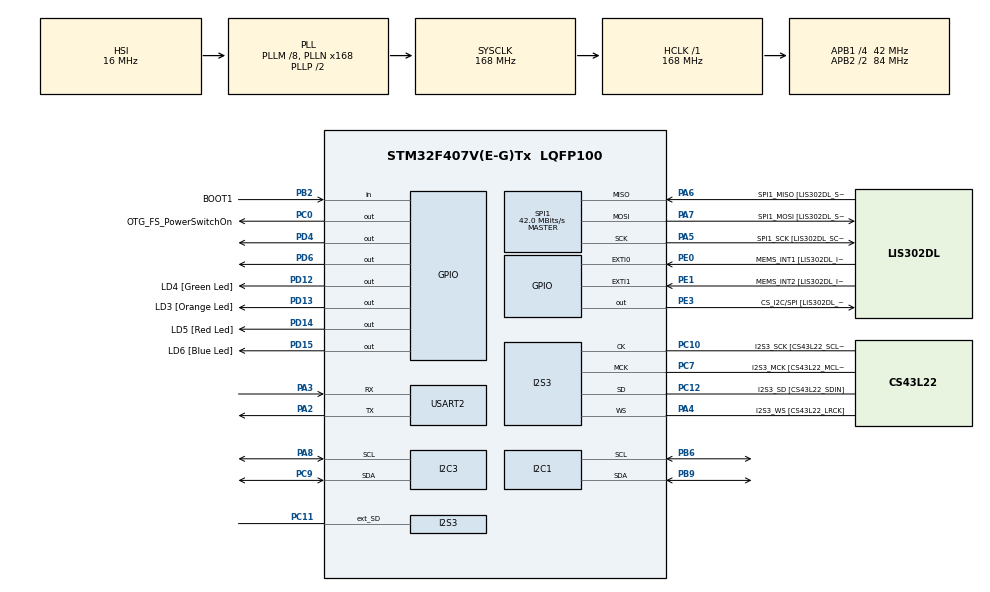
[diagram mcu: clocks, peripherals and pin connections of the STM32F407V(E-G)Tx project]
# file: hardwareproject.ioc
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Dma.Request0=SPI3_TX
Dma.SPI3_TX.0.Direction=DMA_MEMORY_TO_PERIPH
Dma.SPI3_TX.0.FIFOMode=DMA_FIFOMODE_ENABLE
Dma.SPI3_TX.0.FIFOThreshold=DMA_FIFO_THRESHOLD_FULL
Dma.SPI3_TX.0.Instance=DMA1_Stream5
Dma.SPI3_TX.0.MemBurst=DMA_MBURST_INC8
Dma.SPI3_TX.0.MemDataAlignment=DMA_MDATAALIGN_HALFWORD
Dma.SPI3_TX.0.MemInc=DMA_MINC_ENABLE
Dma.SPI3_TX.0.Mode=DMA_NORMAL
Dma.SPI3_TX.0.PeriphBurst=DMA_PBURST_SINGLE
Dma.SPI3_TX.0.PeriphDataAlignment=DMA_PDATAALIGN_HALFWORD
Dma.SPI3_TX.0.PeriphInc=DMA_PINC_DISABLE
Dma.SPI3_TX.0.Priority=DMA_PRIORITY_LOW
I2C1.OwnAddress=0x33
I2S3.AudioFreq=I2S_AUDIOFREQ_48K
I2S3.ErrorAudioFreq=-0.01 %
I2S3.FullDuplexMode=I2S_FULLDUPLEXMODE_ENABLE
I2S3.RealAudioFreq=47.991 KHz
Mcu.Family=STM32F4
Mcu.Name=STM32F407V(E-G)Tx
Mcu.Package=LQFP100
NVIC.DMA1_Stream5_IRQn=true\:0\:0\:false\:false\:true
NVIC.PriorityGroup=NVIC_PRIORITYGROUP_4
PA10.GPIO_Label=OTG_FS_ID
PA10.GPIO_Mode=GPIO_MODE_AF_PP
PA10.GPIO_PuPd=GPIO_NOPULL
PA10.GPIO_Speed=GPIO_SPEED_FREQ_LOW
PA10.Signal=USB_OTG_FS_ID
PA11.GPIO_Label=OTG_FS_DM
PA11.GPIO_Mode=GPIO_MODE_AF_PP
PA11.GPIO_PuPd=GPIO_NOPULL
PA11.GPIO_Speed=GPIO_SPEED_FREQ_LOW
PA11.Signal=USB_OTG_FS_DM
PA12.GPIO_Label=OTG_FS_DP
PA12.GPIO_Mode=GPIO_MODE_AF_PP
PA12.GPIO_PuPd=GPIO_NOPULL
PA12.GPIO_Speed=GPIO_SPEED_FREQ_LOW
PA12.Signal=USB_OTG_FS_DP
PA13.GPIO_Label=SWDIO
PA13.Signal=SYS_JTMS-SWDIO
PA14.GPIO_Label=SWCLK
PA14.Signal=SYS_JTCK-SWCLK
PA2.Mode=Asynchronous
PA2.Signal=USART2_TX
PA3.Mode=Asynchronous
PA3.Signal=USART2_RX
PA4.GPIO_Label=I2S3_WS [CS43L22_LRCK]
PA4.GPIO_Mode=GPIO_MODE_AF_PP
PA4.GPIO_PuPd=GPIO_NOPULL
PA4.GPIO_Speed=GPIO_SPEED_FREQ_LOW
PA4.Mode=Full_Duplex_Master
PA4.Signal=I2S3_WS
PA5.GPIO_Label=SPI1_SCK [LIS302DL_SCL/SPC]
PA5.GPIO_Mode=GPIO_MODE_AF_PP
PA5.GPIO_PuPd=GPIO_NOPULL
PA5.GPIO_Speed=GPIO_SPEED_FREQ_LOW
PA5.Mode=Full_Duplex_Master
PA5.Signal=SPI1_SCK
PA6.GPIO_Label=SPI1_MISO [LIS302DL_SDO]
PA6.GPIO_Mode=GPIO_MODE_AF_PP
PA6.GPIO_PuPd=GPIO_NOPULL
PA6.GPIO_Speed=GPIO_SPEED_FREQ_LOW
PA6.Mode=Full_Duplex_Master
PA6.Signal=SPI1_MISO
PA7.GPIO_Label=SPI1_MOSI [LIS302DL_SDA/SDI/SDO]
PA7.GPIO_Mode=GPIO_MODE_AF_PP
PA7.GPIO_PuPd=GPIO_NOPULL
PA7.GPIO_Speed=GPIO_SPEED_FREQ_LOW
PA7.Mode=Full_Duplex_Master
PA7.Signal=SPI1_MOSI
PA8.Mode=I2C
PA8.Signal=I2C3_SCL
PA9.GPIO_Label=VBUS_FS
PA9.GPIO_Mode=GPIO_MODE_INPUT
PA9.GPIO_PuPd=GPIO_NOPULL
PA9.Signal=USB_OTG_FS_VBUS
PB10.GPIO_Label=CLK_IN [MP45DT02_CLK]
PB10.GPIO_Mode=GPIO_MODE_AF_PP
PB10.GPIO_PuPd=GPIO_NOPULL
PB10.GPIO_Speed=GPIO_SPEED_FREQ_LOW
PB10.Signal=I2S2_CK
PB2.GPIO_Label=BOOT1
PB2.GPIO_Mode=GPIO_MODE_INPUT
PB2.GPIO_PuPd=GPIO_NOPULL
PB2.Signal=GPIO_Input
PB6.Mode=I2C
PB6.Signal=I2C1_SCL
PB9.Mode=I2C
PB9.Signal=I2C1_SDA
PC0.GPIO_Label=OTG_FS_PowerSwitchOn
PC0.GPIO_PuPd=GPIO_NOPULL
PC0.GPIO_Speed=GPIO_SPEED_FREQ_LOW
PC0.PinState=GPIO_PIN_RESET
PC0.Signal=GPIO_Output
PC10.GPIO_Label=I2S3_SCK [CS43L22_SCLK]
PC10.GPIO_Mode=GPIO_MODE_AF_PP
PC10.GPIO_PuPd=GPIO_NOPULL
PC10.GPIO_Speed=GPIO_SPEED_FREQ_LOW
PC10.Mode=Full_Duplex_Master
PC10.Signal=I2S3_CK
PC11.Mode=Full_Duplex_Master
PC11.Signal=I2S3_ext_SD
PC12.GPIO_Label=I2S3_SD [CS43L22_SDIN]
PC12.GPIO_Mode=GPIO_MODE_AF_PP
PC12.GPIO_PuPd=GPIO_NOPULL
PC12.GPIO_Speed=GPIO_SPEED_FREQ_LOW
PC12.Mode=Full_Duplex_Master
PC12.Signal=I2S3_SD
PC14-OSC32_IN.GPIO_Label=PC14-OSC32_IN
PC14-OSC32_IN.Signal=RCC_OSC32_IN
PC15-OSC32_OUT.GPIO_Label=PC15-OSC32_OUT
PC15-OSC32_OUT.Signal=RCC_OSC32_OUT
PC3.GPIO_Label=PDM_OUT [MP45DT02_DOUT]
PC3.GPIO_Mode=GPIO_MODE_AF_PP
PC3.GPIO_PuPd=GPIO_NOPULL
PC3.GPIO_Speed=GPIO_SPEED_FREQ_LOW
PC3.Signal=I2S2_SD
PC7.GPIO_Label=I2S3_MCK [CS43L22_MCLK]
PC7.GPIO_Mode=GPIO_MODE_AF_PP
PC7.GPIO_PuPd=GPIO_NOPULL
PC7.GPIO_Speed=GPIO_SPEED_FREQ_LOW
PC7.Mode=Master_Clock_Activated
PC7.Signal=I2S3_MCK
PC9.Mode=I2C
PC9.Signal=I2C3_SDA
PD12.GPIO_Label=LD4 [Green Led]
PD12.GPIO_PuPd=GPIO_NOPULL
PD12.GPIO_Speed=GPIO_SPEED_FREQ_LOW
PD12.Signal=GPIO_Output
PD13.GPIO_Label=LD3 [Orange Led]
PD13.GPIO_PuPd=GPIO_NOPULL
PD13.GPIO_Speed=GPIO_SPEED_FREQ_LOW
PD13.Signal=GPIO_Output
PD14.GPIO_Label=LD5 [Red Led]
PD14.GPIO_PuPd=GPIO_NOPULL
PD14.GPIO_Speed=GPIO_SPEED_FREQ_LOW
PD14.Signal=GPIO_Output
PD15.GPIO_Label=LD6 [Blue Led]
PD15.GPIO_PuPd=GPIO_NOPULL
PD15.GPIO_Speed=GPIO_SPEED_FREQ_LOW
PD15.Signal=GPIO_Output
PD4.GPIO_PuPd=GPIO_NOPULL
PD4.GPIO_Speed=GPIO_SPEED_FREQ_MEDIUM
PD4.PinState=GPIO_PIN_RESET
PD4.Signal=GPIO_Output
PD6.Signal=GPIO_Output
PE0.GPIO_Label=MEMS_INT1 [LIS302DL_INT1]
PE0.Signal=GPXTI0
PE1.GPIO_Label=MEMS_INT2 [LIS302DL_INT2]
PE1.GPIO_ModeDefaultEXTI=GPIO_MODE_EVT_RISING
PE1.GPIO_PuPd=GPIO_NOPULL
PE1.Signal=GPXTI1
PE3.GPIO_Label=CS_I2C/SPI [LIS302DL_CS_I2C/SPI]
PE3.GPIO_PuPd=GPIO_NOPULL
PE3.GPIO_Speed=GPIO_SPEED_FREQ_LOW
PE3.Signal=GPIO_Output
PH0-OSC_IN.GPIO_Label=PH0-OSC_IN
PH0-OSC_IN.Signal=RCC_OSC_IN
PH1-OSC_OUT.GPIO_Label=PH1-OSC_OUT
PH1-OSC_OUT.Signal=RCC_OSC_OUT
ProjectManager.HeapSize=0x200
ProjectManager.StackSize=0x400
ProjectManager.TargetToolchain=MDK-ARM V5
RCC.48MHZClocksFreq_Value=48000000
RCC.AHBFreq_Value=168000000
RCC.APB1CLKDivider=RCC_HCLK_DIV4
RCC.APB1Freq_Value=42000000
RCC.APB1TimFreq_Value=84000000
RCC.APB2CLKDivider=RCC_HCLK_DIV2
RCC.APB2Freq_Value=84000000
RCC.APB2TimFreq_Value=168000000
RCC.CortexFreq_Value=168000000
RCC.HCLKFreq_Value=168000000
RCC.HSE_VALUE=8000000
RCC.HSI_VALUE=16000000
RCC.LSE_VALUE=32768
RCC.PLLI2SN=86
RCC.PLLM=8
RCC.PLLN=168
RCC.PLLQ=7
RCC.SYSCLKFreq_VALUE=168000000
RCC.SYSCLKSource=RCC_SYSCLKSOURCE_PLLCLK
RCC.VCOOutputFreq_Value=336000000
SPI1.CalculateBaudRate=42.0 MBits/s
SPI1.Mode=SPI_MODE_MASTER
board=STM32F407G-DISC1

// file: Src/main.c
/**
  ******************************************************************************
  * File Name          : main.c
  * Description        : Main program body
  ******************************************************************************
  *
  * COPYRIGHT(c) 2016 STMicroelectronics
  *
  * Redistribution and use in source and binary forms, with or without modification,
  * are permitted provided that the following conditions are met:
  *   1. Redistributions of source code must retain the above copyright notice,
  *      this list of conditions and the following disclaimer.
  *   2. Redistributions in binary form must reproduce the above copyright notice,
  *      this list of conditions and the following disclaimer in the documentation
  *      and/or other materials provided with the distribution.
  *   3. Neither the name of STMicroelectronics nor the names of its contributors
  *      may be used to endorse or promote products derived from this software
  *      without specific prior written permission.
  *
  * THIS SOFTWARE IS PROVIDED BY THE COPYRIGHT HOLDERS AND CONTRIBUTORS "AS IS"
  * AND ANY EXPRESS OR IMPLIED WARRANTIES, INCLUDING, BUT NOT LIMITED TO, THE
  * IMPLIED WARRANTIES OF MERCHANTABILITY AND FITNESS FOR A PARTICULAR PURPOSE ARE
  * DISCLAIMED. IN NO EVENT SHALL THE COPYRIGHT HOLDER OR CONTRIBUTORS BE LIABLE
  * FOR ANY DIRECT, INDIRECT, INCIDENTAL, SPECIAL, EXEMPLARY, OR CONSEQUENTIAL
  * DAMAGES (INCLUDING, BUT NOT LIMITED TO, PROCUREMENT OF SUBSTITUTE GOODS OR
  * SERVICES; LOSS OF USE, DATA, OR PROFITS; OR BUSINESS INTERRUPTION) HOWEVER
  * CAUSED AND ON ANY THEORY OF LIABILITY, WHETHER IN CONTRACT, STRICT LIABILITY,
  * OR TORT (INCLUDING NEGLIGENCE OR OTHERWISE) ARISING IN ANY WAY OUT OF THE USE
  * OF THIS SOFTWARE, EVEN IF ADVISED OF THE POSSIBILITY OF SUCH DAMAGE.
  *
  ******************************************************************************
  */
#include "main.h"
#include "stm32f4xx_hal.h"

/* USER CODE BEGIN Includes */
#define LED_BLUE_ON   GPIOD->BSRRL = GPIO_Pin_15;
#define LED_BLUE_OFF  GPIOD->BSRRH = GPIO_Pin_15;

#define NOTEFREQUENCY 0.015		//frequency of saw wave: f0 = 0.5 * NOTEFREQUENCY * 48000 (=sample rate)
#define NOTEAMPLITUDE 500.0		//amplitude of the saw wave

#define DAC_I2C_ADDR 0x94
#define SIZE 687348

#define PI 3.14159265f

/* USER CODE END Includes */

I2C_HandleTypeDef hi2c1;
I2C_HandleTypeDef hi2c3;

I2S_HandleTypeDef hi2s3;
DMA_HandleTypeDef hdma_spi3_tx;

SPI_HandleTypeDef hspi1;

UART_HandleTypeDef huart2;

/* USER CODE BEGIN PV */
/* Private variables ---------------------------------------------------------*/
typedef struct {
	float tabs[8];
	float params[8];
	uint8_t currIndex;
} fir_8;

uint32_t sampleCounter = 0;
int16_t sample = 0xE5;

float sawWave = 0.0;

float filteredSaw = 0.0;
uint16_t SINE_TABLE[256] = {
   0x0000, 0x0324, 0x0647, 0x096a, 0x0c8b, 0x0fab, 0x12c8, 0x15e2,
   0x18f8, 0x1c0b, 0x1f19, 0x2223, 0x2528, 0x2826, 0x2b1f, 0x2e11,
   0x30fb, 0x33de, 0x36ba, 0x398c, 0x3c56, 0x3f17, 0x41ce, 0x447a,
   0x471c, 0x49b4, 0x4c3f, 0x4ebf, 0x5133, 0x539b, 0x55f5, 0x5842,
   0x5a82, 0x5cb4, 0x5ed7, 0x60ec, 0x62f2, 0x64e8, 0x66cf, 0x68a6,
   0x6a6d, 0x6c24, 0x6dca, 0x6f5f, 0x70e2, 0x7255, 0x73b5, 0x7504,
   0x7641, 0x776c, 0x7884, 0x798a, 0x7a7d, 0x7b5d, 0x7c29, 0x7ce3,
   0x7d8a, 0x7e1d, 0x7e9d, 0x7f09, 0x7f62, 0x7fa7, 0x7fd8, 0x7ff6,
   0x7fff, 0x7ff6, 0x7fd8, 0x7fa7, 0x7f62, 0x7f09, 0x7e9d, 0x7e1d,
   0x7d8a, 0x7ce3, 0x7c29, 0x7b5d, 0x7a7d, 0x798a, 0x7884, 0x776c,
   0x7641, 0x7504, 0x73b5, 0x7255, 0x70e2, 0x6f5f, 0x6dca, 0x6c24,
   0x6a6d, 0x68a6, 0x66cf, 0x64e8, 0x62f2, 0x60ec, 0x5ed7, 0x5cb4,
   0x5a82, 0x5842, 0x55f5, 0x539b, 0x5133, 0x4ebf, 0x4c3f, 0x49b4,
   0x471c, 0x447a, 0x41ce, 0x3f17, 0x3c56, 0x398c, 0x36ba, 0x33de,
   0x30fb, 0x2e11, 0x2b1f, 0x2826, 0x2528, 0x2223, 0x1f19, 0x1c0b,
   0x18f8, 0x15e2, 0x12c8, 0x0fab, 0x0c8b, 0x096a, 0x0647, 0x0324,
   0x0000, 0xfcdc, 0xf9b9, 0xf696, 0xf375, 0xf055, 0xed38, 0xea1e,
   0xe708, 0xe3f5, 0xe0e7, 0xdddd, 0xdad8, 0xd7da, 0xd4e1, 0xd1ef,
   0xcf05, 0xcc22, 0xc946, 0xc674, 0xc3aa, 0xc0e9, 0xbe32, 0xbb86,
   0xb8e4, 0xb64c, 0xb3c1, 0xb141, 0xaecd, 0xac65, 0xaa0b, 0xa7be,
   0xa57e, 0xa34c, 0xa129, 0x9f14, 0x9d0e, 0x9b18, 0x9931, 0x975a,
   0x9593, 0x93dc, 0x9236, 0x90a1, 0x8f1e, 0x8dab, 0x8c4b, 0x8afc,
   0x89bf, 0x8894, 0x877c, 0x8676, 0x8583, 0x84a3, 0x83d7, 0x831d,
   0x8276, 0x81e3, 0x8163, 0x80f7, 0x809e, 0x8059, 0x8028, 0x800a,
   0x8000, 0x800a, 0x8028, 0x8059, 0x809e, 0x80f7, 0x8163, 0x81e3,
   0x8276, 0x831d, 0x83d7, 0x84a3, 0x8583, 0x8676, 0x877c, 0x8894,
   0x89bf, 0x8afc, 0x8c4b, 0x8dab, 0x8f1e, 0x90a1, 0x9236, 0x93dc,
   0x9593, 0x975a, 0x9931, 0x9b18, 0x9d0e, 0x9f14, 0xa129, 0xa34c,
   0xa57e, 0xa7be, 0xaa0b, 0xac65, 0xaecd, 0xb141, 0xb3c1, 0xb64c,
   0xb8e4, 0xbb86, 0xbe32, 0xc0e9, 0xc3aa, 0xc674, 0xc946, 0xcc22,
   0xcf05, 0xd1ef, 0xd4e1, 0xd7da, 0xdad8, 0xdddd, 0xe0e7, 0xe3f5,
   0xe708, 0xea1e, 0xed38, 0xf055, 0xf375, 0xf696, 0xf9b9, 0xfcdc,
};

/* USER CODE END PV */

void SystemClock_Config(void);
void Error_Handler(void);
static void MX_GPIO_Init(void);
static void MX_DMA_Init(void);
static void MX_I2C1_Init(void);
static void MX_I2C3_Init(void);
static void MX_I2S3_Init(void);
static void MX_SPI1_Init(void);
static void MX_USART2_UART_Init(void);

/* USER CODE BEGIN PFP */
static void CS43I22_Init(void);
/* USER CODE END PFP */

/* USER CODE BEGIN 0 */
uint8_t regValue = 0xFF;
uint8_t cmd[10];
/* USER CODE END 0 */

int main(void)
{

  /* USER CODE BEGIN 1 */
	int i = 0;
  int channel = 0;
  /* USER CODE END 1 */

  /* MCU Configuration----------------------------------------------------------*/

  /* Reset of all peripherals, Initializes the Flash interface and the Systick. */
  HAL_Init();

  /* Configure the system clock */
  SystemClock_Config();

  /* Initialize all configured peripherals */
  MX_GPIO_Init();
  MX_DMA_Init();
  MX_I2C1_Init();
  MX_I2C3_Init();
  MX_I2S3_Init();
  MX_SPI1_Init();
  MX_USART2_UART_Init();

  /* USER CODE BEGIN 2 */
	CS43I22_Init();

	uint16_t wav[256];
	int times=10000;
	for (i = 0; i < 256; i++) {
		wav[i] = sin(2 * PI / 256.0f * i) * 2047 + 2047;
	}
  /* USER CODE END 2 */

  /* Infinite loop */
  while (1)
  {

  /* USER CODE BEGIN 3 */
    // 10-15 sec
//		if (times >0)  {
//			times--;
		for (times = 0; times <= 20000; times++)  {
			for (i = 0; i < 256; i++) {
				if (HAL_I2S_GetState(&hi2s3) == HAL_I2S_STATE_READY) {
					HAL_I2S_Transmit(&hi2s3, &wav[i], 1, 0);
					// channel = !channel;
					// if (channel) {
					// 	i++;
					// 	i = i % 256;
					// }
				}
			}
		}
		while(1){
			i=i;
		}

  }
  /* USER CODE END 3 */

}

/** System Clock Configuration
*/
void SystemClock_Config(void)
{

  RCC_OscInitTypeDef RCC_OscInitStruct;
  RCC_ClkInitTypeDef RCC_ClkInitStruct;
  RCC_PeriphCLKInitTypeDef PeriphClkInitStruct;

    /**Configure the main internal regulator output voltage
    */
  __HAL_RCC_PWR_CLK_ENABLE();

  __HAL_PWR_VOLTAGESCALING_CONFIG(PWR_REGULATOR_VOLTAGE_SCALE1);

    /**Initializes the CPU, AHB and APB busses clocks
    */
  RCC_OscInitStruct.OscillatorType = RCC_OSCILLATORTYPE_HSI;
  RCC_OscInitStruct.HSIState = RCC_HSI_ON;
  RCC_OscInitStruct.HSICalibrationValue = 16;
  RCC_OscInitStruct.PLL.PLLState = RCC_PLL_ON;
  RCC_OscInitStruct.PLL.PLLSource = RCC_PLLSOURCE_HSI;
  RCC_OscInitStruct.PLL.PLLM = 8;
  RCC_OscInitStruct.PLL.PLLN = 168;
  RCC_OscInitStruct.PLL.PLLP = RCC_PLLP_DIV2;
  RCC_OscInitStruct.PLL.PLLQ = 7;
  if (HAL_RCC_OscConfig(&RCC_OscInitStruct) != HAL_OK)
  {
    Error_Handler();
  }

    /**Initializes the CPU, AHB and APB busses clocks
    */
  RCC_ClkInitStruct.ClockType = RCC_CLOCKTYPE_HCLK|RCC_CLOCKTYPE_SYSCLK
                              |RCC_CLOCKTYPE_PCLK1|RCC_CLOCKTYPE_PCLK2;
  RCC_ClkInitStruct.SYSCLKSource = RCC_SYSCLKSOURCE_PLLCLK;
  RCC_ClkInitStruct.AHBCLKDivider = RCC_SYSCLK_DIV1;
  RCC_ClkInitStruct.APB1CLKDivider = RCC_HCLK_DIV4;
  RCC_ClkInitStruct.APB2CLKDivider = RCC_HCLK_DIV2;

  if (HAL_RCC_ClockConfig(&RCC_ClkInitStruct, FLASH_LATENCY_5) != HAL_OK)
  {
    Error_Handler();
  }

  PeriphClkInitStruct.PeriphClockSelection = RCC_PERIPHCLK_I2S;
  PeriphClkInitStruct.PLLI2S.PLLI2SN = 86;
  PeriphClkInitStruct.PLLI2S.PLLI2SR = 2;
  if (HAL_RCCEx_PeriphCLKConfig(&PeriphClkInitStruct) != HAL_OK)
  {
    Error_Handler();
  }

    /**Configure the Systick interrupt time
    */
  HAL_SYSTICK_Config(HAL_RCC_GetHCLKFreq()/1000);

    /**Configure the Systick
    */
  HAL_SYSTICK_CLKSourceConfig(SYSTICK_CLKSOURCE_HCLK);

  /* SysTick_IRQn interrupt configuration */
  HAL_NVIC_SetPriority(SysTick_IRQn, 0, 0);
}

/* I2C1 init function */
static void MX_I2C1_Init(void)
{

  hi2c1.Instance = I2C1;
  hi2c1.Init.ClockSpeed = 100000;
  hi2c1.Init.DutyCycle = I2C_DUTYCYCLE_2;
  hi2c1.Init.OwnAddress1 = 102;
  hi2c1.Init.AddressingMode = I2C_ADDRESSINGMODE_7BIT;
  hi2c1.Init.DualAddressMode = I2C_DUALADDRESS_DISABLE;
  hi2c1.Init.OwnAddress2 = 0;
  hi2c1.Init.GeneralCallMode = I2C_GENERALCALL_DISABLE;
  hi2c1.Init.NoStretchMode = I2C_NOSTRETCH_DISABLE;
  if (HAL_I2C_Init(&hi2c1) != HAL_OK)
  {
    Error_Handler();
  }

}

/* I2C3 init function */
static void MX_I2C3_Init(void)
{

  hi2c3.Instance = I2C3;
  hi2c3.Init.ClockSpeed = 100000;
  hi2c3.Init.DutyCycle = I2C_DUTYCYCLE_2;
  hi2c3.Init.OwnAddress1 = 0;
  hi2c3.Init.AddressingMode = I2C_ADDRESSINGMODE_7BIT;
  hi2c3.Init.DualAddressMode = I2C_DUALADDRESS_DISABLE;
  hi2c3.Init.OwnAddress2 = 0;
  hi2c3.Init.GeneralCallMode = I2C_GENERALCALL_DISABLE;
  hi2c3.Init.NoStretchMode = I2C_NOSTRETCH_DISABLE;
  if (HAL_I2C_Init(&hi2c3) != HAL_OK)
  {
    Error_Handler();
  }

}

/* I2S3 init function */
static void MX_I2S3_Init(void)
{

  hi2s3.Instance = SPI3;
  hi2s3.Init.Mode = I2S_MODE_MASTER_TX;
  hi2s3.Init.Standard = I2S_STANDARD_PHILIPS;
  hi2s3.Init.DataFormat = I2S_DATAFORMAT_16B;
  hi2s3.Init.MCLKOutput = I2S_MCLKOUTPUT_ENABLE;
  hi2s3.Init.AudioFreq = I2S_AUDIOFREQ_48K;
  hi2s3.Init.CPOL = I2S_CPOL_LOW;
  hi2s3.Init.ClockSource = I2S_CLOCK_PLL;
  hi2s3.Init.FullDuplexMode = I2S_FULLDUPLEXMODE_ENABLE;
  if (HAL_I2S_Init(&hi2s3) != HAL_OK)
  {
    Error_Handler();
  }

}

/* SPI1 init function */
static void MX_SPI1_Init(void)
{

  hspi1.Instance = SPI1;
  hspi1.Init.Mode = SPI_MODE_MASTER;
  hspi1.Init.Direction = SPI_DIRECTION_2LINES;
  hspi1.Init.DataSize = SPI_DATASIZE_8BIT;
  hspi1.Init.CLKPolarity = SPI_POLARITY_LOW;
  hspi1.Init.CLKPhase = SPI_PHASE_1EDGE;
  hspi1.Init.NSS = SPI_NSS_SOFT;
  hspi1.Init.BaudRatePrescaler = SPI_BAUDRATEPRESCALER_2;
  hspi1.Init.FirstBit = SPI_FIRSTBIT_MSB;
  hspi1.Init.TIMode = SPI_TIMODE_DISABLE;
  hspi1.Init.CRCCalculation = SPI_CRCCALCULATION_DISABLE;
  hspi1.Init.CRCPolynomial = 10;
  if (HAL_SPI_Init(&hspi1) != HAL_OK)
  {
    Error_Handler();
  }

}

/* USART2 init function */
static void MX_USART2_UART_Init(void)
{

  huart2.Instance = USART2;
  huart2.Init.BaudRate = 115200;
  huart2.Init.WordLength = UART_WORDLENGTH_8B;
  huart2.Init.StopBits = UART_STOPBITS_1;
  huart2.Init.Parity = UART_PARITY_NONE;
  huart2.Init.Mode = UART_MODE_TX_RX;
  huart2.Init.HwFlowCtl = UART_HWCONTROL_NONE;
  huart2.Init.OverSampling = UART_OVERSAMPLING_16;
  if (HAL_UART_Init(&huart2) != HAL_OK)
  {
    Error_Handler();
  }

}

static void MX_DMA_Init(void)
{
  /* DMA controller clock enable */
  __HAL_RCC_DMA1_CLK_ENABLE();

  /* DMA interrupt init */
  /* DMA1_Stream5_IRQn interrupt configuration */
  HAL_NVIC_SetPriority(DMA1_Stream5_IRQn, 0, 0);
  HAL_NVIC_EnableIRQ(DMA1_Stream5_IRQn);

}

/** Configure pins as
        * Analog
        * Input
        * Output
        * EVENT_OUT
        * EXTI
     PC3   ------> I2S2_SD
     PB10   ------> I2S2_CK
     PA9   ------> USB_OTG_FS_VBUS
     PA10   ------> USB_OTG_FS_ID
     PA11   ------> USB_OTG_FS_DM
     PA12   ------> USB_OTG_FS_DP
*/
static void MX_GPIO_Init(void)
{

  GPIO_InitTypeDef GPIO_InitStruct;

  /* GPIO Ports Clock Enable */
  __HAL_RCC_GPIOE_CLK_ENABLE();
  __HAL_RCC_GPIOC_CLK_ENABLE();
  __HAL_RCC_GPIOH_CLK_ENABLE();
  __HAL_RCC_GPIOA_CLK_ENABLE();
  __HAL_RCC_GPIOB_CLK_ENABLE();
  __HAL_RCC_GPIOD_CLK_ENABLE();

  /*Configure GPIO pin Output Level */
  HAL_GPIO_WritePin(CS_I2C_SPI_GPIO_Port, CS_I2C_SPI_Pin, GPIO_PIN_RESET);

  /*Configure GPIO pin Output Level */
  HAL_GPIO_WritePin(OTG_FS_PowerSwitchOn_GPIO_Port, OTG_FS_PowerSwitchOn_Pin, GPIO_PIN_RESET);

  /*Configure GPIO pin Output Level */
  HAL_GPIO_WritePin(GPIOD, LD4_Pin|LD3_Pin|LD5_Pin|LD6_Pin
                          |GPIO_PIN_4|GPIO_PIN_6, GPIO_PIN_RESET);

  /*Configure GPIO pin : CS_I2C_SPI_Pin */
  GPIO_InitStruct.Pin = CS_I2C_SPI_Pin;
  GPIO_InitStruct.Mode = GPIO_MODE_OUTPUT_PP;
  GPIO_InitStruct.Pull = GPIO_NOPULL;
  GPIO_InitStruct.Speed = GPIO_SPEED_FREQ_LOW;
  HAL_GPIO_Init(CS_I2C_SPI_GPIO_Port, &GPIO_InitStruct);

  /*Configure GPIO pin : OTG_FS_PowerSwitchOn_Pin */
  GPIO_InitStruct.Pin = OTG_FS_PowerSwitchOn_Pin;
  GPIO_InitStruct.Mode = GPIO_MODE_OUTPUT_PP;
  GPIO_InitStruct.Pull = GPIO_NOPULL;
  GPIO_InitStruct.Speed = GPIO_SPEED_FREQ_LOW;
  HAL_GPIO_Init(OTG_FS_PowerSwitchOn_GPIO_Port, &GPIO_InitStruct);

  /*Configure GPIO pin : PDM_OUT_Pin */
  GPIO_InitStruct.Pin = PDM_OUT_Pin;
  GPIO_InitStruct.Mode = GPIO_MODE_AF_PP;
  GPIO_InitStruct.Pull = GPIO_NOPULL;
  GPIO_InitStruct.Speed = GPIO_SPEED_FREQ_LOW;
  GPIO_InitStruct.Alternate = GPIO_AF5_SPI2;
  HAL_GPIO_Init(PDM_OUT_GPIO_Port, &GPIO_InitStruct);

  /*Configure GPIO pin : BOOT1_Pin */
  GPIO_InitStruct.Pin = BOOT1_Pin;
  GPIO_InitStruct.Mode = GPIO_MODE_INPUT;
  GPIO_InitStruct.Pull = GPIO_NOPULL;
  HAL_GPIO_Init(BOOT1_GPIO_Port, &GPIO_InitStruct);

  /*Configure GPIO pin : CLK_IN_Pin */
  GPIO_InitStruct.Pin = CLK_IN_Pin;
  GPIO_InitStruct.Mode = GPIO_MODE_AF_PP;
  GPIO_InitStruct.Pull = GPIO_NOPULL;
  GPIO_InitStruct.Speed = GPIO_SPEED_FREQ_LOW;
  GPIO_InitStruct.Alternate = GPIO_AF5_SPI2;
  HAL_GPIO_Init(CLK_IN_GPIO_Port, &GPIO_InitStruct);

  /*Configure GPIO pins : LD4_Pin LD3_Pin LD5_Pin LD6_Pin
                           PD6 */
  GPIO_InitStruct.Pin = LD4_Pin|LD3_Pin|LD5_Pin|LD6_Pin
                          |GPIO_PIN_6;
  GPIO_InitStruct.Mode = GPIO_MODE_OUTPUT_PP;
  GPIO_InitStruct.Pull = GPIO_NOPULL;
  GPIO_InitStruct.Speed = GPIO_SPEED_FREQ_LOW;
  HAL_GPIO_Init(GPIOD, &GPIO_InitStruct);

  /*Configure GPIO pin : VBUS_FS_Pin */
  GPIO_InitStruct.Pin = VBUS_FS_Pin;
  GPIO_InitStruct.Mode = GPIO_MODE_INPUT;
  GPIO_InitStruct.Pull = GPIO_NOPULL;
  HAL_GPIO_Init(VBUS_FS_GPIO_Port, &GPIO_InitStruct);

  /*Configure GPIO pins : OTG_FS_ID_Pin OTG_FS_DM_Pin OTG_FS_DP_Pin */
  GPIO_InitStruct.Pin = OTG_FS_ID_Pin|OTG_FS_DM_Pin|OTG_FS_DP_Pin;
  GPIO_InitStruct.Mode = GPIO_MODE_AF_PP;
  GPIO_InitStruct.Pull = GPIO_NOPULL;
  GPIO_InitStruct.Speed = GPIO_SPEED_FREQ_LOW;
  GPIO_InitStruct.Alternate = GPIO_AF10_OTG_FS;
  HAL_GPIO_Init(GPIOA, &GPIO_InitStruct);

  /*Configure GPIO pin : PD4 */
  GPIO_InitStruct.Pin = GPIO_PIN_4;
  GPIO_InitStruct.Mode = GPIO_MODE_OUTPUT_PP;
  GPIO_InitStruct.Pull = GPIO_NOPULL;
  GPIO_InitStruct.Speed = GPIO_SPEED_FREQ_MEDIUM;
  HAL_GPIO_Init(GPIOD, &GPIO_InitStruct);

  /*Configure GPIO pin : MEMS_INT1_Pin */
  GPIO_InitStruct.Pin = MEMS_INT1_Pin;
  GPIO_InitStruct.Mode = GPIO_MODE_IT_RISING;
  GPIO_InitStruct.Pull = GPIO_NOPULL;
  HAL_GPIO_Init(MEMS_INT1_GPIO_Port, &GPIO_InitStruct);

  /*Configure GPIO pin : MEMS_INT2_Pin */
  GPIO_InitStruct.Pin = MEMS_INT2_Pin;
  GPIO_InitStruct.Mode = GPIO_MODE_EVT_RISING;
  GPIO_InitStruct.Pull = GPIO_NOPULL;
  HAL_GPIO_Init(MEMS_INT2_GPIO_Port, &GPIO_InitStruct);

}

/* USER CODE BEGIN 4 */
static void CS43I22_Init(void) {HAL_GPIO_WritePin(GPIOD,GPIO_PIN_4,GPIO_PIN_SET);

  // 4.9 Recommended Power-Up Sequence (p. 31)

  // 1. Hold RESET low until the power supplies are stable.
  // HAL_Delay(100);

  // 2. Bring RESET high
  HAL_GPIO_WritePin(GPIOD, GPIO_PIN_4, GPIO_PIN_SET);

  // 3. The default state of the “Power Ctl. 1�? register (0x02) is 0x01. Load the desired register settings while
  // keeping the “Power Ctl 1�? register set to 0x01.
	cmd[0] = 0x02;
	cmd[1] = 0x01;
	HAL_I2C_Master_Transmit(&hi2c1, DAC_I2C_ADDR, cmd, 2, 1000);

	// Load My Setting
	// 7.2 Power Control 1 (p.37)
	// cmd[0] = 0x02;
	// cmd[1] = 0x9E;
	// HAL_I2C_Master_Transmit(&hi2c1, DAC_I2C_ADDR, cmd, 2, 1000);
  // 7.3 Power Control 2 (p.38)
	cmd[0] = 0x04;
	// cmd[1] = 0xAA; /* 1010 1010 ( Headphone channel is always ON. Speaker channel is always ON. )*/
  cmd[1] =  (2 << 6);  // PDN_HPB[0:1]  = 10 (HP-B always on)
  cmd[1] |= (2 << 4);  // PDN_HPA[0:1]  = 10 (HP-A always on)
  cmd[1] |= (3 << 2);  // PDN_SPKB[0:1] = 11 (Speaker B always off)
  cmd[1] |= (3 << 0);  // PDN_SPKA[0:1] = 11 (Speaker A always off)
  HAL_I2C_Master_Transmit(&hi2c1, DAC_I2C_ADDR, cmd, 2, 1000);
  // 7.4 Clocking Control (p. 38)
	cmd[0] = 0x05;
  // cmd[1] = 0x81; /* 1000 0001 ( Auto-Detect, Double-Speed Mode (DSM - 50 kHz -100 kHz Fs), MCLK Divide By 2 ) */
	cmd[1] = 0x81;
	HAL_I2C_Master_Transmit(&hi2c1, DAC_I2C_ADDR, cmd, 2, 1000);
  // 7.5 Interface Control 1 (p. 40)
	cmd[0] = 0x06;
  HAL_I2C_Master_Transmit(&hi2c1, DAC_I2C_ADDR, cmd, 1, 100);
  HAL_I2C_Master_Receive(&hi2c1, DAC_I2C_ADDR, &cmd[1], 1, 100);
	// cmd[0] = 0x06;
	// cmd[1] = 0x07; /* 0000 0111 ( Slave Mode, Not Inverted SCLK, Disabled DSP, I²S up to 24-bit data, 16-bits Audio Wave Length ) */
	cmd[1] &= (1 << 5); // Clear all bits except bit 5 which is reserved
  cmd[1] &= ~(1 << 7);  // Slave
  cmd[1] &= ~(1 << 6);  // Clock polarity: Not inverted
  cmd[1] &= ~(1 << 4);  // No DSP mode
  cmd[1] &= ~(1 << 2);  // Left justified, up to 24 bit (default)
  cmd[1] |=  (3 << 0);  // 16-bit audio word length for I2S interface
	HAL_I2C_Master_Transmit(&hi2c1, DAC_I2C_ADDR, cmd, 2, 1000);
  // 7.6 Interface Control 2 (p. 41)
	// cmd[0] = 0x07;
	// cmd[1] = 0x07;
	// HAL_I2C_Master_Transmit(&hi2c1, DAC_I2C_ADDR, cmd, 2, 1000);
  // 7.7 Passthrough x Select: PassA (p. 42)
	cmd[0] = 0x08;
  HAL_I2C_Master_Transmit(&hi2c1, DAC_I2C_ADDR, cmd, 1, 100);
	HAL_I2C_Master_Receive(&hi2c1, DAC_I2C_ADDR, &cmd[1], 1, 100);
  cmd[1] &= 0xF0;      // Bits [5-7] are reserved
  cmd[1] |=  (1 << 0); // Use AIN1A as source for passthrough
	HAL_I2C_Master_Transmit(&hi2c1, DAC_I2C_ADDR, cmd, 2, 1000);
  // 7.7 Passthrough x Select: PassB (p. 42)
	cmd[0] = 0x09;
  HAL_I2C_Master_Transmit(&hi2c1, DAC_I2C_ADDR, cmd, 1, 100);
  HAL_I2C_Master_Receive(&hi2c1, DAC_I2C_ADDR, &cmd[1], 1, 100);
  cmd[1] &= 0xF0;      // Bits [5-7] are reserved
  cmd[1] |=  (1 << 0); // Use AIN1B as source for passthrough
  HAL_I2C_Master_Transmit(&hi2c1, DAC_I2C_ADDR, cmd, 2, 1000);
  // 7.10 Playback Control 1 (p. 43)
	// cmd[0] = 0x0D;
	// cmd[1] = 0x70; /* 0111 0000 ( 0.6047 Headphone Analog Gain, Playback Volume Setting B=A )*/
	// HAL_I2C_Master_Transmit(&hi2c1, DAC_I2C_ADDR, cmd, 2, 1000);
  // 7.8 Analog ZC and SR Settings (Address 0Ah) (p. 42)
	// cmd[0] = 0x0A;
	// cmd[1] = 0x00; /* xxxx 0000 */
	// HAL_I2C_Master_Transmit(&hi2c1, DAC_I2C_ADDR, cmd, 2, 1000);
	// 7.11 Miscellaneous Controls (Address 0Eh) (p. 44)
	cmd[0] = 0x0E;
  HAL_I2C_Master_Transmit(&hi2c1, DAC_I2C_ADDR, cmd, 1, 100);
	HAL_I2C_Master_Receive(&hi2c1, DAC_I2C_ADDR, &cmd[1], 1, 100);
  cmd[1] &= ~(1 << 7);   // Disable passthrough for AIN-A
  cmd[1] &= ~(1 << 6);   // Disable passthrough for AIN-B
  cmd[1] |=  (1 << 5);   // Mute passthrough on AIN-A
  cmd[1] |=  (1 << 4);   // Mute passthrough on AIN-B
  cmd[1] &= ~(1 << 3);   // Changed settings take affect immediately
  HAL_I2C_Master_Transmit(&hi2c1, DAC_I2C_ADDR, cmd, 2, 100);
  // 7.12 Playback Control 2 (Address 0Fh) (p. 45)
  cmd[0] = 0x0F;
  cmd[1] = 0x00;
  HAL_I2C_Master_Transmit(&hi2c1, DAC_I2C_ADDR, cmd, 2, 100);
  // 7.23 Limiter Control 1, Min/Max Thresholds  (p. 53)
	// cmd[0] = 0x27;
	// cmd[1] = 0x00; /* 0000 0000 ( Limiter Maximum Threshold 0 dB, Limiter Cushion Threshold 0 dB ) */
	// HAL_I2C_Master_Transmit(&hi2c1, DAC_I2C_ADDR, cmd, 2, 1000);
  // 7.14 PCMx Volume: PCMA (p. 47)
	cmd[0] = 0x1A;
	cmd[1] = 0x00;
	HAL_I2C_Master_Transmit(&hi2c1, DAC_I2C_ADDR, cmd, 3, 1000);
  // 7.14 PCMx Volume: PCMB (p. 47)
  cmd[0] = 0x1B; // | 0x80;
  cmd[1] = 0x00; // 0000 1010 ( PCM Channel B Volume )
  HAL_I2C_Master_Transmit(&hi2c1, DAC_I2C_ADDR, cmd, 2, 1000);
  /*
	// 7.18 Tone Control (p. 50)
	cmd[0] = 0x1F;
	cmd[1] = 0x0F; // 0000 1111 ( Treble Gain +12.0 dB, Bass Gain -10.5 dB )
	HAL_I2C_Master_Transmit(&hi2c1, DAC_I2C_ADDR, cmd, 2, 1000);
  // 7.19 Master Volume Control: MSTA (p. 51)
	cmd[0] = 0x20;
	cmd[1] = 0x18; // 0001 1000
	HAL_I2C_Master_Transmit(&hi2c1, DAC_I2C_ADDR, cmd, 2, 1000);
  // 7.19 Master Volume Control: MSTB (p. 52)
	cmd[0] = 0x21;
	cmd[1] = 0x18; // 0001 1000
	HAL_I2C_Master_Transmit(&hi2c1, DAC_I2C_ADDR, cmd, 2, 1000);
  // 7.20 Headphone Volume Control: HPA (p. 51)
	cmd[0] = 0x22;
	cmd[1] = 0x00; // 0000 0000 ( Headphone Volume Control 0 dB )
	HAL_I2C_Master_Transmit(&hi2c1, DAC_I2C_ADDR, cmd, 2, 1000);
  // 7.20 Headphone Volume Control: HPB (p. 51)
	cmd[0] = 0x23;
	cmd[1] = 0x00; // 0000 0000 ( Headphone Volume Control 0 dB )
	HAL_I2C_Master_Transmit(&hi2c1, DAC_I2C_ADDR, cmd, 2, 1000);
  // 7.15 Beep Frequency & On Time (p. 48)
	cmd[0] = 0x1C;
	cmd[1] = 0x58; // 0101 1000 ( Beep Frequency 774.19 Hz G5, Beep On Time ~2.80 s )
	HAL_I2C_Master_Transmit(&hi2c1, DAC_I2C_ADDR, cmd, 2, 1000);
  // 7.16 Beep Volume & Off Time (p. 48)
	cmd[0] = 0x1D;
	cmd[1] = 0x00; // 0000 0000 ( Beep Off Time ~1.23 s, Beep Volume -56 dB )
	HAL_I2C_Master_Transmit(&hi2c1, DAC_I2C_ADDR, cmd, 2, 1000);
  // 7.17 Beep & Tone Configuration (p. 49)
	cmd[0] = 0x1E;
	cmd[1] = 0x60; // 0110 0000 ( Single Beep, Beep Mix Disable )
	HAL_I2C_Master_Transmit(&hi2c1, DAC_I2C_ADDR, cmd, 2, 1000);
	*/
	// 4. Load the required initialization settings listed in Section 4.11
  // 4.1. Write 0x99 to register 0x00.
	cmd[0] = 0x00;
	cmd[1] = 0x99;
	HAL_I2C_Master_Transmit(&hi2c1, DAC_I2C_ADDR, cmd, 2, 1000);
  // 4.2. Write 0x80 to register 0x47
	cmd[0] = 0x47;
	cmd[1] = 0x80;
	HAL_I2C_Master_Transmit(&hi2c1, DAC_I2C_ADDR, cmd, 2, 1000);
  // 4.3. Write ‘1’b to bit 7 in register 0x32.
	cmd[0] = 0x32;
	HAL_I2C_Master_Transmit(&hi2c1, DAC_I2C_ADDR, cmd, 1, 1000);
	HAL_I2C_Master_Receive(&hi2c1, DAC_I2C_ADDR, &cmd[1],1,1000);
	cmd[1] | 0x80;
	HAL_I2C_Master_Transmit(&hi2c1, DAC_I2C_ADDR, cmd, 2, 1000);
  // 4.4. Write ‘0’b to bit 7 in register 0x32.
	cmd[0] = 0x32;
	HAL_I2C_Master_Transmit(&hi2c1, DAC_I2C_ADDR, cmd, 1, 1000);
	HAL_I2C_Master_Receive(&hi2c1, DAC_I2C_ADDR, &cmd[1],1,1000);
	cmd[1] &= ~(0x80);
	HAL_I2C_Master_Transmit(&hi2c1, DAC_I2C_ADDR, cmd, 2, 1000);
  // 4.5. Write 0x00 to register 0x00.
	cmd[0] = 0x00;
	cmd[1] = 0x00;
	HAL_I2C_Master_Transmit(&hi2c1, DAC_I2C_ADDR, cmd, 2, 1000);

  // 5. Apply MCLK at the appropriate frequency, as discussed in Section 4.6. SCLK may be applied or set to
  // master at any time; LRCK may only be applied or set to master while the PDN bit is set to 1.

  // 6. Set the “Power Ctl 1�? register (0x02) to 0x9E
	cmd[0] = 0x02;
	cmd[1] = 0x9E;
	HAL_I2C_Master_Transmit(&hi2c1, DAC_I2C_ADDR, cmd, 2, 1000);

  // 7. Bring RESET low if the analog or digital supplies drop below the recommended operating condition to
  // prevent power glitch related issues.

  // DEBUG: ZONE keep breakpoint here
  /*
	uint8_t iReg_02 = 0x02;
	HAL_I2C_Master_Transmit(&hi2c1, DAC_I2C_ADDR, &iReg_02, 1, 100);
	HAL_I2C_Master_Receive(&hi2c1, DAC_I2C_ADDR, &iReg_02, 1, 100);
	uint8_t iReg_04 = 0x04;
	HAL_I2C_Master_Transmit(&hi2c1, DAC_I2C_ADDR, &iReg_04, 1, 100);
	HAL_I2C_Master_Receive(&hi2c1, DAC_I2C_ADDR, &iReg_04, 1, 100);
	uint8_t iReg_05 = 0x05;
	HAL_I2C_Master_Transmit(&hi2c1, DAC_I2C_ADDR, &iReg_05, 1, 100);
	HAL_I2C_Master_Receive( &hi2c1, DAC_I2C_ADDR, &iReg_05, 1, 100);
	uint8_t iReg_06 = 0x06;
	HAL_I2C_Master_Transmit(&hi2c1, DAC_I2C_ADDR, &iReg_06, 1, 100);
	HAL_I2C_Master_Receive(&hi2c1, DAC_I2C_ADDR, &iReg_06, 1, 100);
	uint8_t iReg_0E = 0x0E;
	HAL_I2C_Master_Transmit(&hi2c1, DAC_I2C_ADDR, &iReg_0E, 1, 100);
	HAL_I2C_Master_Receive(&hi2c1, DAC_I2C_ADDR, &iReg_0E, 1, 100);
	uint8_t iReg_0F = 0x0F;
	HAL_I2C_Master_Transmit(&hi2c1, DAC_I2C_ADDR, &iReg_0F, 1, 100);
	HAL_I2C_Master_Receive(&hi2c1, DAC_I2C_ADDR, &iReg_0F, 1, 100);
	uint8_t iReg_1A = 0x1A;
	HAL_I2C_Master_Transmit(&hi2c1, DAC_I2C_ADDR, &iReg_1A, 1, 100);
	HAL_I2C_Master_Receive(&hi2c1, DAC_I2C_ADDR, &iReg_1A, 1, 100);
	uint8_t iReg_1B = 0x1B;
	HAL_I2C_Master_Transmit(&hi2c1, DAC_I2C_ADDR, &iReg_1B, 1, 100);
	HAL_I2C_Master_Receive(&hi2c1, DAC_I2C_ADDR, &iReg_1B, 1, 100);
   */
}
/* USER CODE END 4 */

void Error_Handler(void)
{
  while(1)
  {
  }
}

/************************ (C) COPYRIGHT STMicroelectronics *****END OF FILE****/
